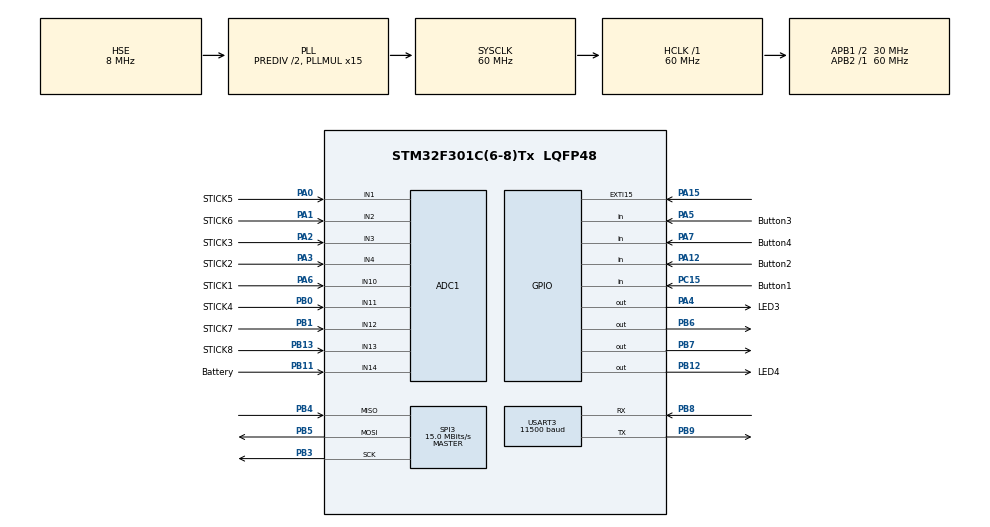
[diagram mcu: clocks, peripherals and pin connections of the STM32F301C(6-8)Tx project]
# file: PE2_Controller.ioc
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ADC1.Channel-18\#ChannelRegularConversion=ADC_CHANNEL_2
ADC1.Channel-19\#ChannelRegularConversion=ADC_CHANNEL_3
ADC1.Channel-20\#ChannelRegularConversion=ADC_CHANNEL_4
ADC1.Channel-21\#ChannelRegularConversion=ADC_CHANNEL_10
ADC1.Channel-22\#ChannelRegularConversion=ADC_CHANNEL_11
ADC1.Channel-23\#ChannelRegularConversion=ADC_CHANNEL_12
ADC1.Channel-24\#ChannelRegularConversion=ADC_CHANNEL_13
ADC1.Channel-25\#ChannelRegularConversion=ADC_CHANNEL_14
ADC1.Channel-9\#ChannelRegularConversion=ADC_CHANNEL_1
ADC1.ClockPrescaler=ADC_CLOCK_SYNC_PCLK_DIV4
ADC1.DMAContinuousRequests=ENABLE
ADC1.DataAlign=ADC_DATAALIGN_RIGHT
ADC1.EOCSelection=ADC_EOC_SEQ_CONV
ADC1.EnableInjectedConversion=DISABLE
ADC1.EnableRegularConversion=ENABLE
ADC1.ExternalTrigConv=ADC_EXTERNALTRIGCONV_T1_TRGO
ADC1.NbrOfConversion=9
ADC1.NbrOfConversionFlag=1
ADC1.Offset-18\#ChannelRegularConversion=0
ADC1.Offset-19\#ChannelRegularConversion=0
ADC1.Offset-20\#ChannelRegularConversion=0
ADC1.Offset-21\#ChannelRegularConversion=0
ADC1.Offset-22\#ChannelRegularConversion=0
ADC1.Offset-23\#ChannelRegularConversion=0
ADC1.Offset-24\#ChannelRegularConversion=0
ADC1.Offset-25\#ChannelRegularConversion=0
ADC1.Offset-9\#ChannelRegularConversion=0
ADC1.OffsetNumber-18\#ChannelRegularConversion=ADC_OFFSET_NONE
ADC1.OffsetNumber-19\#ChannelRegularConversion=ADC_OFFSET_NONE
ADC1.OffsetNumber-20\#ChannelRegularConversion=ADC_OFFSET_NONE
ADC1.OffsetNumber-21\#ChannelRegularConversion=ADC_OFFSET_NONE
ADC1.OffsetNumber-22\#ChannelRegularConversion=ADC_OFFSET_NONE
ADC1.OffsetNumber-23\#ChannelRegularConversion=ADC_OFFSET_NONE
ADC1.OffsetNumber-24\#ChannelRegularConversion=ADC_OFFSET_NONE
ADC1.OffsetNumber-25\#ChannelRegularConversion=ADC_OFFSET_NONE
ADC1.OffsetNumber-9\#ChannelRegularConversion=ADC_OFFSET_NONE
ADC1.Rank-18\#ChannelRegularConversion=2
ADC1.Rank-19\#ChannelRegularConversion=3
ADC1.Rank-20\#ChannelRegularConversion=4
ADC1.Rank-21\#ChannelRegularConversion=5
ADC1.Rank-22\#ChannelRegularConversion=6
ADC1.Rank-23\#ChannelRegularConversion=7
ADC1.Rank-24\#ChannelRegularConversion=8
ADC1.Rank-25\#ChannelRegularConversion=9
ADC1.Rank-9\#ChannelRegularConversion=1
ADC1.SamplingTime-18\#ChannelRegularConversion=ADC_SAMPLETIME_19CYCLES_5
ADC1.SamplingTime-19\#ChannelRegularConversion=ADC_SAMPLETIME_19CYCLES_5
ADC1.SamplingTime-20\#ChannelRegularConversion=ADC_SAMPLETIME_19CYCLES_5
ADC1.SamplingTime-21\#ChannelRegularConversion=ADC_SAMPLETIME_19CYCLES_5
ADC1.SamplingTime-22\#ChannelRegularConversion=ADC_SAMPLETIME_19CYCLES_5
ADC1.SamplingTime-23\#ChannelRegularConversion=ADC_SAMPLETIME_19CYCLES_5
ADC1.SamplingTime-24\#ChannelRegularConversion=ADC_SAMPLETIME_19CYCLES_5
ADC1.SamplingTime-25\#ChannelRegularConversion=ADC_SAMPLETIME_19CYCLES_5
ADC1.SamplingTime-9\#ChannelRegularConversion=ADC_SAMPLETIME_19CYCLES_5
ADC1.SamplingTimeOPAMP-18\#ChannelRegularConversion=ADC_SAMPLETIME_7CYCLES_5
ADC1.SamplingTimeOPAMP-19\#ChannelRegularConversion=ADC_SAMPLETIME_7CYCLES_5
ADC1.SamplingTimeOPAMP-20\#ChannelRegularConversion=ADC_SAMPLETIME_7CYCLES_5
ADC1.SamplingTimeOPAMP-21\#ChannelRegularConversion=ADC_SAMPLETIME_7CYCLES_5
ADC1.SamplingTimeOPAMP-22\#ChannelRegularConversion=ADC_SAMPLETIME_7CYCLES_5
ADC1.SamplingTimeOPAMP-23\#ChannelRegularConversion=ADC_SAMPLETIME_7CYCLES_5
ADC1.SamplingTimeOPAMP-24\#ChannelRegularConversion=ADC_SAMPLETIME_7CYCLES_5
ADC1.SamplingTimeOPAMP-25\#ChannelRegularConversion=ADC_SAMPLETIME_7CYCLES_5
ADC1.SequencerNbRanks=9
ADC1.master=1
Dma.ADC1.0.Direction=DMA_PERIPH_TO_MEMORY
Dma.ADC1.0.Instance=DMA1_Channel1
Dma.ADC1.0.MemDataAlignment=DMA_MDATAALIGN_WORD
Dma.ADC1.0.MemInc=DMA_MINC_ENABLE
Dma.ADC1.0.Mode=DMA_CIRCULAR
Dma.ADC1.0.PeriphDataAlignment=DMA_PDATAALIGN_WORD
Dma.ADC1.0.PeriphInc=DMA_PINC_DISABLE
Dma.ADC1.0.Priority=DMA_PRIORITY_LOW
Dma.Request0=ADC1
Mcu.Family=STM32F3
Mcu.Name=STM32F301C(6-8)Tx
Mcu.Package=LQFP48
NVIC.ADC1_IRQn=true\:0\:0\:false\:false\:true\:true\:true\:true
NVIC.DMA1_Channel1_IRQn=true\:0\:0\:false\:false\:true\:false\:true\:true
NVIC.EXTI15_10_IRQn=true\:0\:0\:false\:false\:true\:true\:true\:true
NVIC.PriorityGroup=NVIC_PRIORITYGROUP_4
NVIC.TIM1_TRG_COM_TIM17_IRQn=true\:0\:0\:false\:false\:true\:true\:true\:true
NVIC.TIM1_UP_TIM16_IRQn=true\:0\:0\:false\:false\:true\:true\:true\:true
NVIC.USART3_IRQn=true\:0\:0\:false\:false\:true\:true\:true\:true
PA0.GPIO_Label=STICK5
PA0.Mode=IN1-Single-Ended
PA0.Signal=ADC1_IN1
PA1.GPIO_Label=STICK6
PA1.Mode=IN2-Single-Ended
PA1.Signal=ADC1_IN2
PA12.GPIO_Label=Button2
PA12.Signal=GPIO_Input
PA13.Mode=Serial_Wire
PA13.Signal=SYS_JTMS-SWDIO
PA14.Mode=Serial_Wire
PA14.Signal=SYS_JTCK-SWCLK
PA15.Signal=GPXTI15
PA2.GPIO_Label=STICK3
PA2.Mode=IN3-Single-Ended
PA2.Signal=ADC1_IN3
PA3.GPIO_Label=STICK2
PA3.Mode=IN4-Single-Ended
PA3.Signal=ADC1_IN4
PA4.GPIO_Label=LED3
PA4.Signal=GPIO_Output
PA5.GPIO_Label=Button3
PA5.Signal=GPIO_Input
PA6.GPIO_Label=STICK1
PA6.Signal=ADCx_IN10
PA7.GPIO_Label=Button4
PA7.Signal=GPIO_Input
PB0.GPIO_Label=STICK4
PB0.Mode=IN11-Single-Ended
PB0.Signal=ADC1_IN11
PB1.GPIO_Label=STICK7
PB1.Mode=IN12-Single-Ended
PB1.Signal=ADC1_IN12
PB11.GPIO_Label=Battery
PB11.Mode=IN14-Single-Ended
PB11.Signal=ADC1_IN14
PB12.GPIO_Label=LED4
PB12.Signal=GPIO_Output
PB13.GPIO_Label=STICK8
PB13.Mode=IN13-Single-Ended
PB13.Signal=ADC1_IN13
PB3.Mode=Full_Duplex_Master
PB3.Signal=SPI3_SCK
PB4.Mode=Full_Duplex_Master
PB4.Signal=SPI3_MISO
PB5.Mode=Full_Duplex_Master
PB5.Signal=SPI3_MOSI
PB6.Signal=GPIO_Output
PB7.Signal=GPIO_Output
PB8.Mode=Asynchronous
PB8.Signal=USART3_RX
PB9.Mode=Asynchronous
PB9.Signal=USART3_TX
PC15\ -\ OSC32_OUT.GPIO_Label=Button1
PC15\ -\ OSC32_OUT.Signal=GPIO_Input
PF0-OSC_IN.Mode=HSE-External-Oscillator
PF0-OSC_IN.Signal=RCC_OSC_IN
PF1-OSC_OUT.Mode=HSE-External-Oscillator
PF1-OSC_OUT.Signal=RCC_OSC_OUT
ProjectManager.HeapSize=0x200
ProjectManager.StackSize=0x400
ProjectManager.TargetToolchain=STM32CubeIDE
RCC.AHBFreq_Value=60000000
RCC.APB1CLKDivider=RCC_HCLK_DIV2
RCC.APB1Freq_Value=30000000
RCC.APB1TimFreq_Value=60000000
RCC.APB2Freq_Value=60000000
RCC.APB2TimFreq_Value=60000000
RCC.CortexFreq_Value=60000000
RCC.HCLKFreq_Value=60000000
RCC.HSE_VALUE=8000000
RCC.HSI_VALUE=8000000
RCC.LSE_VALUE=32768
RCC.PLLMUL=RCC_PLL_MUL15
RCC.PLLSourceVirtual=RCC_PLLSOURCE_HSE
RCC.RCC_PLLsource_Clock_Source_FROM_HSE=RCC_HSE_PREDIV_DIV2
RCC.SYSCLKFreq_VALUE=60000000
RCC.SYSCLKSourceVirtual=RCC_SYSCLKSOURCE_PLLCLK
SH.ADCx_IN10.0=ADC1_IN10,IN10-Single-Ended
SPI3.BaudRatePrescaler=SPI_BAUDRATEPRESCALER_2
SPI3.CalculateBaudRate=15.0 MBits/s
SPI3.DataSize=SPI_DATASIZE_8BIT
SPI3.Direction=SPI_DIRECTION_2LINES
SPI3.Mode=SPI_MODE_MASTER
SPI3.VirtualType=VM_MASTER
TIM1.Period=5999
TIM1.TIM_MasterOutputTrigger=TIM_TRGO_UPDATE
TIM1.TIM_MasterOutputTrigger2=TIM_TRGO2_UPDATE
USART3.BaudRate=11500
USART3.VirtualMode-Asynchronous=VM_ASYNC
VP_TIM1_VS_ClockSourceINT.Mode=Internal
board=custom

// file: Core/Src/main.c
/* USER CODE BEGIN Header */
/**
  ******************************************************************************
  * @file           : main.c
  * @brief          : Main program body
  ******************************************************************************
  * @attention
  *
  * Copyright (c) 2024 STMicroelectronics.
  * All rights reserved.
  *
  * This software is licensed under terms that can be found in the LICENSE file
  * in the root directory of this software component.
  * If no LICENSE file comes with this software, it is provided AS-IS.
  *
  ******************************************************************************
  */
/* USER CODE END Header */
#include "main.h"

/* USER CODE BEGIN Includes */
#include "NRF24L01.h"
#include <stdint.h>
#include <string.h>
/* USER CODE END Includes */

 ADC_HandleTypeDef hadc1;
DMA_HandleTypeDef hdma_adc1;

SPI_HandleTypeDef hspi3;

TIM_HandleTypeDef htim1;

UART_HandleTypeDef huart3;

/* USER CODE BEGIN PV */
 uint8_t TxAddress[] = {0xEE,0xDD,0xCC,0xBB,0xAA}; //Adres waar data naar word geschreven. Zowel Rx als Tx adress moeten overeen komen bij het zenden en ontvangen van data.

 uint8_t Check; //int voor return waarde van transmit functie om na te gaan of deze succesvol was.

 uint32_t ADC_Value[9] = {0}; // Array voor het opslaan van alle ADC waarden.
 uint8_t data[19] = {0}; // Elke ADC waarde is 12 bit. We gaan elke adc waarde opslaan in 2 bytes . 1 extra byte voor de knoppen.
/* USER CODE END PV */

void SystemClock_Config(void);
static void MX_GPIO_Init(void);
static void MX_DMA_Init(void);
static void MX_SPI3_Init(void);
static void MX_ADC1_Init(void);
static void MX_USART3_UART_Init(void);
static void MX_TIM1_Init(void);
/* USER CODE BEGIN PFP */
void transformData(void);
/* USER CODE END PFP */

/* USER CODE BEGIN 0 */
//////////////////////////////////////////////////////////////////////////////////////////////////////////////////////////////////////////////////////////////////
//////////////////////////////////////////////////////////////////////////////////////////////////////////////////////////////////////////////////////////////////
//////////////////////////////////////////////////////////////////////////////////////////////////////////////////////////////////////////////////////////////////
//////////////////// transformData transformeert de 12bit ADC waarden naar 2 verzendbare 8 bit waardes
//////////////////// bv. ADC_Value[i] = 0000 1011 0001 1111
////////////////////	 data[dataIndex] = ADC_Value[i] & 0xFF = 0000 1011 0001 1111
////////////////////										 AND 0000 0000 1111 1111
////////////////////     									   = 0000 0000 0001 1111 = 0001 1111 = Laagste 8 bits
////////////////////     ADC_Value[i] >> 8 = 0000 1011 0001 1111 >> 8 = 0000 0000 0000 1011
////////////////////     data[dataIndex] = (ADC_Value[i] >> 8) & 0x0F = 0000 0000 0000 1011
////////////////////                                                AND 0000 0000 0000 1111
////////////////////                                                  = 0000 0000 0000 1011 = 0000 1011 = Hoogste 8 bits
//////////////////////////////////////////////////////////////////////////////////////////////////////////////////////////////////////////////////////////////////
//////////////////////////////////////////////////////////////////////////////////////////////////////////////////////////////////////////////////////////////////
//////////////////////////////////////////////////////////////////////////////////////////////////////////////////////////////////////////////////////////////////
void transformData(void) {
	int dataIndex = 0; // Index voor data array
	for (int i = 0; i < 9; i++) {
		data[dataIndex] = ADC_Value[i] & 0xFF; // slaagt de laagste 8 bist op.
		dataIndex++;
		data[dataIndex] = (ADC_Value[i] >> 8) & 0x0F; // slaagt de 4 hoogste waardes op.
		dataIndex++;
	}
	data[dataIndex] = (HAL_GPIO_ReadPin(GPIOA, GPIO_PIN_12)) | (HAL_GPIO_ReadPin(GPIOC, GPIO_PIN_15) << 1); // slaagt de status van de knoppen op.
}
/* USER CODE END 0 */

int main(void)
{

  /* MCU Configuration--------------------------------------------------------*/

  /* Reset of all peripherals, Initializes the Flash interface and the Systick. */
  HAL_Init();

  /* Configure the system clock */
  SystemClock_Config();

  /* Initialize all configured peripherals */
  MX_GPIO_Init();
  MX_DMA_Init();
  MX_SPI3_Init();
  MX_ADC1_Init();
  MX_USART3_UART_Init();
  MX_TIM1_Init();
  /* USER CODE BEGIN 2 */

  NRF24_Init(); // Initialiseert de NRF24L01+ module.
  NRF24_TXMode(TxAddress, 10); // Configureert de NRF24L01+ module in Transmit mode.

  HAL_TIM_Base_Start_IT(&htim1); // Start timer 1 voor het sampelen van de ADC's.
  HAL_ADC_Start_DMA(&hadc1, (uint32_t*)ADC_Value, 9); //Start de ADC met DMA.
  /* USER CODE END 2 */

  /* Infinite loop */
  /* USER CODE BEGIN WHILE */
  while (1)
  {
	  if(ADC_Value[8] > 3100) //kijkt na of het batterij niveau nog boven 7V is.
	  {
		  transformData(); // Roept de transformData functie op
		  Check = NRF24_Transmit(data); // Verzendt de getransformeerde data en krijgt een return waarde: 1 zenden is gelukt , 0 zenden is niet gelukt
		  HAL_GPIO_WritePin(GPIOB, GPIO_PIN_12, Check); // visualiseert of het zenden gelukt is of niet met een ledje.
	  }
    /* USER CODE END WHILE */

  }
}

void SystemClock_Config(void)
{
  RCC_OscInitTypeDef RCC_OscInitStruct = {0};
  RCC_ClkInitTypeDef RCC_ClkInitStruct = {0};
  RCC_PeriphCLKInitTypeDef PeriphClkInit = {0};

  /** Initializes the RCC Oscillators according to the specified parameters
  * in the RCC_OscInitTypeDef structure.
  */
  RCC_OscInitStruct.OscillatorType = RCC_OSCILLATORTYPE_HSE;
  RCC_OscInitStruct.HSEState = RCC_HSE_ON;
  RCC_OscInitStruct.HSEPredivValue = RCC_HSE_PREDIV_DIV2;
  RCC_OscInitStruct.HSIState = RCC_HSI_ON;
  RCC_OscInitStruct.PLL.PLLState = RCC_PLL_ON;
  RCC_OscInitStruct.PLL.PLLSource = RCC_PLLSOURCE_HSE;
  RCC_OscInitStruct.PLL.PLLMUL = RCC_PLL_MUL15;
  if (HAL_RCC_OscConfig(&RCC_OscInitStruct) != HAL_OK)
  {
    Error_Handler();
  }

  /** Initializes the CPU, AHB and APB buses clocks
  */
  RCC_ClkInitStruct.ClockType = RCC_CLOCKTYPE_HCLK|RCC_CLOCKTYPE_SYSCLK
                              |RCC_CLOCKTYPE_PCLK1|RCC_CLOCKTYPE_PCLK2;
  RCC_ClkInitStruct.SYSCLKSource = RCC_SYSCLKSOURCE_PLLCLK;
  RCC_ClkInitStruct.AHBCLKDivider = RCC_SYSCLK_DIV1;
  RCC_ClkInitStruct.APB1CLKDivider = RCC_HCLK_DIV2;
  RCC_ClkInitStruct.APB2CLKDivider = RCC_HCLK_DIV1;

  if (HAL_RCC_ClockConfig(&RCC_ClkInitStruct, FLASH_LATENCY_2) != HAL_OK)
  {
    Error_Handler();
  }
  PeriphClkInit.PeriphClockSelection = RCC_PERIPHCLK_TIM1;
  PeriphClkInit.Tim1ClockSelection = RCC_TIM1CLK_HCLK;
  if (HAL_RCCEx_PeriphCLKConfig(&PeriphClkInit) != HAL_OK)
  {
    Error_Handler();
  }
}

static void MX_ADC1_Init(void)
{

  ADC_ChannelConfTypeDef sConfig = {0};

  /** Common config
  */
  hadc1.Instance = ADC1;
  hadc1.Init.ClockPrescaler = ADC_CLOCK_SYNC_PCLK_DIV4;
  hadc1.Init.Resolution = ADC_RESOLUTION_12B;
  hadc1.Init.ScanConvMode = ADC_SCAN_ENABLE;
  hadc1.Init.ContinuousConvMode = DISABLE;
  hadc1.Init.DiscontinuousConvMode = DISABLE;
  hadc1.Init.ExternalTrigConvEdge = ADC_EXTERNALTRIGCONVEDGE_RISING;
  hadc1.Init.ExternalTrigConv = ADC_EXTERNALTRIGCONV_T1_TRGO;
  hadc1.Init.DataAlign = ADC_DATAALIGN_RIGHT;
  hadc1.Init.NbrOfConversion = 9;
  hadc1.Init.DMAContinuousRequests = ENABLE;
  hadc1.Init.EOCSelection = ADC_EOC_SEQ_CONV;
  hadc1.Init.LowPowerAutoWait = DISABLE;
  hadc1.Init.Overrun = ADC_OVR_DATA_OVERWRITTEN;
  if (HAL_ADC_Init(&hadc1) != HAL_OK)
  {
    Error_Handler();
  }

  /** Configure Regular Channel
  */
  sConfig.Channel = ADC_CHANNEL_1;
  sConfig.Rank = ADC_REGULAR_RANK_1;
  sConfig.SingleDiff = ADC_SINGLE_ENDED;
  sConfig.SamplingTime = ADC_SAMPLETIME_19CYCLES_5;
  sConfig.OffsetNumber = ADC_OFFSET_NONE;
  sConfig.Offset = 0;
  if (HAL_ADC_ConfigChannel(&hadc1, &sConfig) != HAL_OK)
  {
    Error_Handler();
  }

  /** Configure Regular Channel
  */
  sConfig.Channel = ADC_CHANNEL_2;
  sConfig.Rank = ADC_REGULAR_RANK_2;
  if (HAL_ADC_ConfigChannel(&hadc1, &sConfig) != HAL_OK)
  {
    Error_Handler();
  }

  /** Configure Regular Channel
  */
  sConfig.Channel = ADC_CHANNEL_3;
  sConfig.Rank = ADC_REGULAR_RANK_3;
  if (HAL_ADC_ConfigChannel(&hadc1, &sConfig) != HAL_OK)
  {
    Error_Handler();
  }

  /** Configure Regular Channel
  */
  sConfig.Channel = ADC_CHANNEL_4;
  sConfig.Rank = ADC_REGULAR_RANK_4;
  if (HAL_ADC_ConfigChannel(&hadc1, &sConfig) != HAL_OK)
  {
    Error_Handler();
  }

  /** Configure Regular Channel
  */
  sConfig.Channel = ADC_CHANNEL_10;
  sConfig.Rank = ADC_REGULAR_RANK_5;
  if (HAL_ADC_ConfigChannel(&hadc1, &sConfig) != HAL_OK)
  {
    Error_Handler();
  }

  /** Configure Regular Channel
  */
  sConfig.Channel = ADC_CHANNEL_11;
  sConfig.Rank = ADC_REGULAR_RANK_6;
  if (HAL_ADC_ConfigChannel(&hadc1, &sConfig) != HAL_OK)
  {
    Error_Handler();
  }

  /** Configure Regular Channel
  */
  sConfig.Channel = ADC_CHANNEL_12;
  sConfig.Rank = ADC_REGULAR_RANK_7;
  if (HAL_ADC_ConfigChannel(&hadc1, &sConfig) != HAL_OK)
  {
    Error_Handler();
  }

  /** Configure Regular Channel
  */
  sConfig.Channel = ADC_CHANNEL_13;
  sConfig.Rank = ADC_REGULAR_RANK_8;
  if (HAL_ADC_ConfigChannel(&hadc1, &sConfig) != HAL_OK)
  {
    Error_Handler();
  }

  /** Configure Regular Channel
  */
  sConfig.Channel = ADC_CHANNEL_14;
  sConfig.Rank = ADC_REGULAR_RANK_9;
  if (HAL_ADC_ConfigChannel(&hadc1, &sConfig) != HAL_OK)
  {
    Error_Handler();
  }

}

static void MX_SPI3_Init(void)
{

  /* SPI3 parameter configuration*/
  hspi3.Instance = SPI3;
  hspi3.Init.Mode = SPI_MODE_MASTER;
  hspi3.Init.Direction = SPI_DIRECTION_2LINES;
  hspi3.Init.DataSize = SPI_DATASIZE_8BIT;
  hspi3.Init.CLKPolarity = SPI_POLARITY_LOW;
  hspi3.Init.CLKPhase = SPI_PHASE_1EDGE;
  hspi3.Init.NSS = SPI_NSS_SOFT;
  hspi3.Init.BaudRatePrescaler = SPI_BAUDRATEPRESCALER_2;
  hspi3.Init.FirstBit = SPI_FIRSTBIT_MSB;
  hspi3.Init.TIMode = SPI_TIMODE_DISABLE;
  hspi3.Init.CRCCalculation = SPI_CRCCALCULATION_DISABLE;
  hspi3.Init.CRCPolynomial = 7;
  hspi3.Init.CRCLength = SPI_CRC_LENGTH_DATASIZE;
  hspi3.Init.NSSPMode = SPI_NSS_PULSE_ENABLE;
  if (HAL_SPI_Init(&hspi3) != HAL_OK)
  {
    Error_Handler();
  }

}

static void MX_TIM1_Init(void)
{

  TIM_ClockConfigTypeDef sClockSourceConfig = {0};
  TIM_MasterConfigTypeDef sMasterConfig = {0};

  htim1.Instance = TIM1;
  htim1.Init.Prescaler = 0;
  htim1.Init.CounterMode = TIM_COUNTERMODE_UP;
  htim1.Init.Period = 5999;
  htim1.Init.ClockDivision = TIM_CLOCKDIVISION_DIV1;
  htim1.Init.RepetitionCounter = 0;
  htim1.Init.AutoReloadPreload = TIM_AUTORELOAD_PRELOAD_DISABLE;
  if (HAL_TIM_Base_Init(&htim1) != HAL_OK)
  {
    Error_Handler();
  }
  sClockSourceConfig.ClockSource = TIM_CLOCKSOURCE_INTERNAL;
  if (HAL_TIM_ConfigClockSource(&htim1, &sClockSourceConfig) != HAL_OK)
  {
    Error_Handler();
  }
  sMasterConfig.MasterOutputTrigger = TIM_TRGO_UPDATE;
  sMasterConfig.MasterOutputTrigger2 = TIM_TRGO2_UPDATE;
  sMasterConfig.MasterSlaveMode = TIM_MASTERSLAVEMODE_DISABLE;
  if (HAL_TIMEx_MasterConfigSynchronization(&htim1, &sMasterConfig) != HAL_OK)
  {
    Error_Handler();
  }

}

static void MX_USART3_UART_Init(void)
{

  huart3.Instance = USART3;
  huart3.Init.BaudRate = 11500;
  huart3.Init.WordLength = UART_WORDLENGTH_8B;
  huart3.Init.StopBits = UART_STOPBITS_1;
  huart3.Init.Parity = UART_PARITY_NONE;
  huart3.Init.Mode = UART_MODE_TX_RX;
  huart3.Init.HwFlowCtl = UART_HWCONTROL_NONE;
  huart3.Init.OverSampling = UART_OVERSAMPLING_16;
  huart3.Init.OneBitSampling = UART_ONE_BIT_SAMPLE_DISABLE;
  huart3.AdvancedInit.AdvFeatureInit = UART_ADVFEATURE_NO_INIT;
  if (HAL_UART_Init(&huart3) != HAL_OK)
  {
    Error_Handler();
  }

}

static void MX_DMA_Init(void)
{

  /* DMA controller clock enable */
  __HAL_RCC_DMA1_CLK_ENABLE();

  /* DMA interrupt init */
  /* DMA1_Channel1_IRQn interrupt configuration */
  HAL_NVIC_SetPriority(DMA1_Channel1_IRQn, 0, 0);
  HAL_NVIC_EnableIRQ(DMA1_Channel1_IRQn);

}

static void MX_GPIO_Init(void)
{
  GPIO_InitTypeDef GPIO_InitStruct = {0};

  /* GPIO Ports Clock Enable */
  __HAL_RCC_GPIOC_CLK_ENABLE();
  __HAL_RCC_GPIOF_CLK_ENABLE();
  __HAL_RCC_GPIOA_CLK_ENABLE();
  __HAL_RCC_GPIOB_CLK_ENABLE();

  /*Configure GPIO pin Output Level */
  HAL_GPIO_WritePin(LED3_GPIO_Port, LED3_Pin, GPIO_PIN_RESET);

  /*Configure GPIO pin Output Level */
  HAL_GPIO_WritePin(GPIOB, LED4_Pin|GPIO_PIN_6|GPIO_PIN_7, GPIO_PIN_RESET);

  /*Configure GPIO pin : Button1_Pin */
  GPIO_InitStruct.Pin = Button1_Pin;
  GPIO_InitStruct.Mode = GPIO_MODE_INPUT;
  GPIO_InitStruct.Pull = GPIO_NOPULL;
  HAL_GPIO_Init(Button1_GPIO_Port, &GPIO_InitStruct);

  /*Configure GPIO pin : LED3_Pin */
  GPIO_InitStruct.Pin = LED3_Pin;
  GPIO_InitStruct.Mode = GPIO_MODE_OUTPUT_PP;
  GPIO_InitStruct.Pull = GPIO_NOPULL;
  GPIO_InitStruct.Speed = GPIO_SPEED_FREQ_LOW;
  HAL_GPIO_Init(LED3_GPIO_Port, &GPIO_InitStruct);

  /*Configure GPIO pins : Button3_Pin Button4_Pin Button2_Pin */
  GPIO_InitStruct.Pin = Button3_Pin|Button4_Pin|Button2_Pin;
  GPIO_InitStruct.Mode = GPIO_MODE_INPUT;
  GPIO_InitStruct.Pull = GPIO_NOPULL;
  HAL_GPIO_Init(GPIOA, &GPIO_InitStruct);

  /*Configure GPIO pins : LED4_Pin PB6 PB7 */
  GPIO_InitStruct.Pin = LED4_Pin|GPIO_PIN_6|GPIO_PIN_7;
  GPIO_InitStruct.Mode = GPIO_MODE_OUTPUT_PP;
  GPIO_InitStruct.Pull = GPIO_NOPULL;
  GPIO_InitStruct.Speed = GPIO_SPEED_FREQ_LOW;
  HAL_GPIO_Init(GPIOB, &GPIO_InitStruct);

  /*Configure GPIO pin : PA15 */
  GPIO_InitStruct.Pin = GPIO_PIN_15;
  GPIO_InitStruct.Mode = GPIO_MODE_IT_RISING;
  GPIO_InitStruct.Pull = GPIO_NOPULL;
  HAL_GPIO_Init(GPIOA, &GPIO_InitStruct);

  /* EXTI interrupt init*/
  HAL_NVIC_SetPriority(EXTI15_10_IRQn, 0, 0);
  HAL_NVIC_EnableIRQ(EXTI15_10_IRQn);

}

void Error_Handler(void)
{
  __disable_irq();
  while (1)
  {
  }
}
